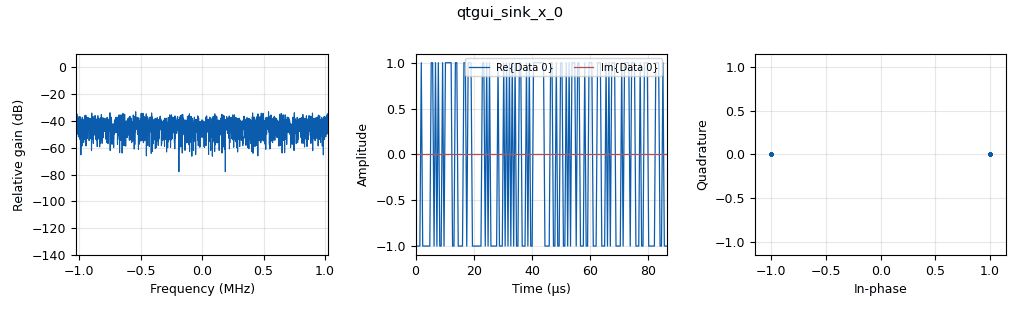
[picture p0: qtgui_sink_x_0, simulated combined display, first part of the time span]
options:
  parameters:
    author: syml
    generate_options: qt_gui
    id: bpsk_tx_demo
    output_language: python
    title: BPSK_TX
  states: {}

blocks:
- name: bpsk
  id: variable_constellation
  parameters:
    precision: '8'
    type: bpsk
  states: {}
- name: rx_gain
  id: variable_qtgui_range
  parameters:
    label: RX Gain
    start: '0'
    step: '0.01'
    stop: '1'
    value: '0.7'
  states: {}
- name: samp_rate
  id: variable
  parameters:
    value: 2.046e6
  states: {}
- name: tx_gain
  id: variable_qtgui_range
  parameters:
    label: TX Gain
    start: '0'
    step: '0.01'
    stop: '1'
    value: '0'
  states: {}
- name: blocks_add_const_vxx_0
  id: blocks_add_const_vxx
  parameters:
    const: ord("0")
    type: byte
  states: {state: disabled}
- name: blocks_file_sink_0
  id: blocks_file_sink
  parameters:
    file: /home/syml/Temp/1.txt
    type: byte
  states: {state: disabled}
- name: blocks_file_sink_1
  id: blocks_file_sink
  parameters:
    file: /home/syml/Temp/1.bin
    type: complex
  states: {state: disabled}
- name: blocks_keep_one_in_n_0
  id: blocks_keep_one_in_n
  parameters:
    n: '2'
    type: byte
  states: {state: disabled}
- name: blocks_repack_bits_bb_0
  id: blocks_repack_bits_bb
  parameters:
    endianness: gr.GR_LSB_FIRST
    k: '4'
    l: '1'
  states: {}
- name: blocks_repack_bits_bb_0_0
  id: blocks_repack_bits_bb
  parameters:
    endianness: gr.GR_LSB_FIRST
    k: '3'
    l: '1'
  states: {}
- name: blocks_repack_bits_bb_1
  id: blocks_repack_bits_bb
  parameters:
    endianness: gr.GR_LSB_FIRST
    k: '1'
    l: '3'
  states: {state: disabled}
- name: blocks_repeat_0
  id: blocks_repeat
  parameters:
    interp: int(samp_rate) // 20
    type: byte
  states: {}
- name: blocks_repeat_0_0
  id: blocks_repeat
  parameters:
    interp: int(samp_rate) // 1000
    type: byte
  states: {}
- name: blocks_repeat_0_0_0
  id: blocks_repeat
  parameters:
    interp: int(samp_rate) // 2046000
    type: byte
  states: {}
- name: blocks_throttle_0
  id: blocks_throttle
  parameters:
    samples_per_second: samp_rate
    type: complex
  states: {state: disabled}
- name: blocks_vector_source_x_0
  id: blocks_vector_source_x
  parameters:
    repeat: 'True'
    type: byte
    vector: (0,0,0,0,0,1,0,0,1,1,0,1,0,1,0,0,1,1,1,0)
  states: {}
- name: blocks_vector_source_x_1
  id: blocks_vector_source_x
  parameters:
    comment: sat 12
    repeat: 'True'
    type: byte
    vector: vecsrc.hex2vec("e24046d288d22ff9eff7fa4000154400196d5f9c6afb5faa0c590050400fb2a839a66b0c80e24086da8c927fecc1571300cf23a8884be27c0b987e111109c81550f75881e81869a12b0e240c6e6ddc63eba4ed914eabe21ffaa8a4c5501401d2dba486774f52d17cada063e1e4c0e24106ca88837ebecdcd8e5ff55ffdf8fd619e2810091aaecac8440521a183284e2d41a0a86e24146f688837ebecdcd8e5ff55ffdf8fd619e2810091aaecac8440521a183284e2d41a0a86")
  states: {}
- name: blocks_vector_source_x_2
  id: blocks_vector_source_x
  parameters:
    comment: PRN Ranging Code
    repeat: 'True'
    type: byte
    vector: vecsrc.oct2vec("5110350312654634560711755747041376776345553333363071442134403564512557105307452030165055324062355117367062274370673233236415302114713363163246624014702255306055641305066224704645172277657445015000540175710527666066101217247035657623042535367504475101067265241702441450735227111043533011430133625376010740364645046740506275022227426701647712440216135451573431037625205411255331047644407457513636331034543257253456643652142641225015503434451532604703542446254375720611005252530665535662471052571027126724662662744637742310363247742737252365600474513501760707216314076073457716356014243377663227022423245616665130517206603751441626756634242100066207714447354100534474537406621142341132")
  states: {}
- name: blocks_vector_source_x_3
  id: blocks_vector_source_x
  parameters:
    repeat: 'True'
    type: byte
    vector: (0, )
  states: {state: disabled}
- name: blocks_xor_xx_1
  id: blocks_xor_xx
  parameters:
    num_inputs: '3'
    type: byte
  states: {}
- name: digital_constellation_decoder_cb_0
  id: digital_constellation_decoder_cb
  parameters:
    constellation: bpsk
  states: {state: disabled}
- name: digital_constellation_encoder_bc_0
  id: digital_constellation_encoder_bc
  parameters:
    constellation: bpsk
  states: {}
- name: digital_costas_loop_cc_0
  id: digital_costas_loop_cc
  parameters:
    order: '2'
    w: '0.628'
  states: {state: disabled}
- name: osmosdr_sink_0
  id: osmosdr_sink
  parameters:
    bb_gain0: '0'
    freq0: 1561.098e6
    gain0: '0'
    if_gain0: '0'
    sample_rate: samp_rate
    sync: none
    type: fc32
  states: {state: disabled}
- name: qtgui_sink_x_0
  id: qtgui_sink_x
  parameters:
    bw: samp_rate
    fc: '0'
    fftsize: '4096'
    type: complex
  states: {}
- name: qtgui_sink_x_0_0
  id: qtgui_sink_x
  parameters:
    bw: samp_rate
    fc: '0'
    fftsize: '4096'
    type: complex
  states: {state: disabled}
- name: uhd_usrp_sink_0
  id: uhd_usrp_sink
  parameters:
    ant0: '"TX/RX"'
    center_freq0: 1561.098e6
    gain0: '0'
    samp_rate: samp_rate
    sync: none
    type: fc32
  states: {}
- name: uhd_usrp_source_0
  id: uhd_usrp_source
  parameters:
    ant0: '"TX/RX"'
    center_freq0: 1561.098e6
    dev_args: type=b200
    gain0: rx_gain
    gain_type0: normalized
    rx_agc0: Disabled
    samp_rate: samp_rate
    sync: pc_clock
    type: fc32
  states: {state: disabled}
- name: vecsrc
  id: epy_module
  parameters:
    source_code: |
      # this module will be imported in the into your flowgraph
      import numpy as np


      def hex2vec(data: str):
          v = []
          for i in data:
              v.append(int(i, 16))
          return v

      def oct2vec(data: str):
          v = []
          for i in data:
              v.append(int(i, 8))
          return v
  states: {}

connections:
- [blocks_add_const_vxx_0, '0', blocks_file_sink_0, '0']
- [blocks_keep_one_in_n_0, '0', blocks_repack_bits_bb_1, '0']
- [blocks_repack_bits_bb_0, '0', blocks_repeat_0, '0']
- [blocks_repack_bits_bb_0_0, '0', blocks_repeat_0_0_0, '0']
- [blocks_repack_bits_bb_1, '0', blocks_add_const_vxx_0, '0']
- [blocks_repeat_0, '0', blocks_xor_xx_1, '0']
- [blocks_repeat_0_0, '0', blocks_xor_xx_1, '1']
- [blocks_repeat_0_0_0, '0', blocks_xor_xx_1, '2']
- [blocks_throttle_0, '0', blocks_file_sink_1, '0']
- [blocks_vector_source_x_0, '0', blocks_repeat_0_0, '0']
- [blocks_vector_source_x_1, '0', blocks_repack_bits_bb_0, '0']
- [blocks_vector_source_x_2, '0', blocks_repack_bits_bb_0_0, '0']
- [blocks_vector_source_x_3, '0', blocks_xor_xx_1, '0']
- [blocks_vector_source_x_3, '0', blocks_xor_xx_1, '1']
- [blocks_xor_xx_1, '0', digital_constellation_encoder_bc_0, '0']
- [digital_constellation_decoder_cb_0, '0', blocks_keep_one_in_n_0, '0']
- [digital_constellation_encoder_bc_0, '0', blocks_throttle_0, '0']
- [digital_constellation_encoder_bc_0, '0', osmosdr_sink_0, '0']
- [digital_constellation_encoder_bc_0, '0', qtgui_sink_x_0, '0']
- [digital_constellation_encoder_bc_0, '0', uhd_usrp_sink_0, '0']
- [digital_costas_loop_cc_0, '0', digital_constellation_decoder_cb_0, '0']
- [digital_costas_loop_cc_0, '0', qtgui_sink_x_0_0, '0']
- [uhd_usrp_source_0, '0', digital_costas_loop_cc_0, '0']

metadata:
  file_format: 1
  grc_version: 3.10.5.0
